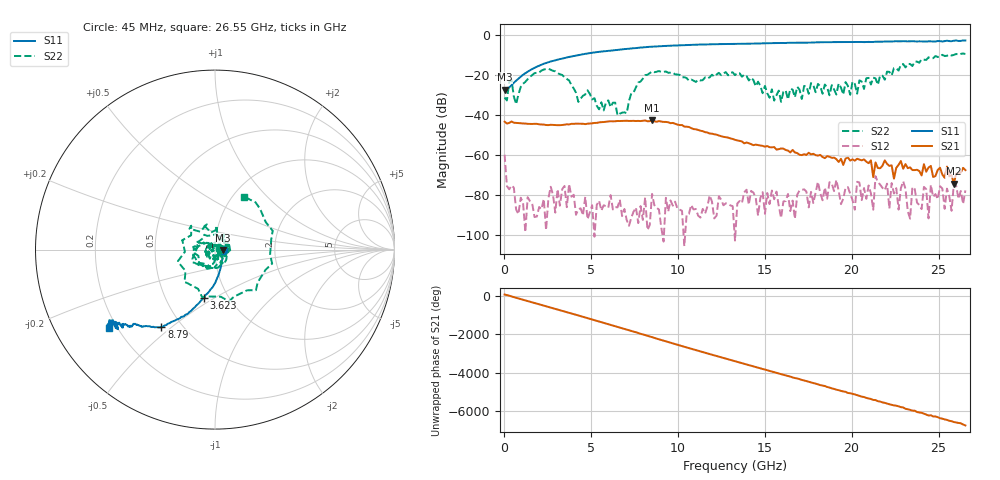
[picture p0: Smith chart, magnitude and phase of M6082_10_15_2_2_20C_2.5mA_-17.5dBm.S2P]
!  2-Port S-parameters saved by WinCal
! VAR MeasName=S-Parameters (CALIBRATED_DATA) read from VNA (C)
! VAR MeasDate=10/16/2015 3:06:08 PM
! VAR NAME=M6082_10_15_2_2_20C_2.5mA_-17.5dBm
! VAR FILENAME=M6082_10_15_2_2_20C_2.5mA_-17.5dBm.S2P
! VAR DATE=10/16/2015 3:06:08 PM
! VAR PHYS_PORTS=2,1
! VAR ObjTypeName=DATASET
! VAR IndexType=Frequency
# Hz S RI R 50
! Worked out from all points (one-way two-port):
!   201 points, 45 MHz to 26.55 GHz, reference 50 ohm
!   highest |S21| = -42.69 dB at 8.525 GHz (marker M1); lowest = -74.4 dB at 25.88 GHz (marker M2)
!   lowest |S11| = -27.2 dB at 45 MHz (marker M3), VSWR 1.09, Z = 54.5 - j0.23 ohm
!   |S11| at or under -10 dB: start of sweep to 4.283 GHz
!   |S22| runs from -40.1 to -9.2 dB; largest |S21 - S12| = 0.0073
!   S11 on the Smith chart (normalised r, x): 45 MHz: 1.09, -0.00; 3.623 GHz: 0.77, -0.45; 8.79 GHz: 0.39, -0.46; 26.55 GHz: 0.17, -0.32
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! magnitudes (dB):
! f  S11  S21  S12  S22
! 45 MHz  -27.2  -43.3  -59.9  -31.3
! 177.5 MHz  -27.1  -44.3  -75.6  -32.7
! 442.5 MHz  -25.1  -43.2  -75.3  -22.4
! 707.5 MHz  -22.8  -44.0  -87.3  -34.6
! 1.768 GHz  -16.4  -44.4  -91.1  -19.0
! 3.623 GHz  -11.2  -44.7  -86.1  -21.9
! 4.55 GHz  -9.6  -44.4  -90.2  -30.4
! 7.067 GHz  -6.9  -42.9  -92.6  -39.1
! 8.525 GHz  -5.8  -42.7  -79.5  -18.2
! 8.79 GHz  -5.6  -43.3  -86.4  -18.3
! 8.922 GHz  -5.6  -43.0  -87.3  -18.0
! 13.29 GHz  -4.4  -52.4  -102.9  -20.0
! 15.95 GHz  -3.9  -56.7  -91.5  -33.4
! 17.8 GHz  -3.7  -59.4  -84.1  -25.0
! 19.12 GHz  -3.5  -62.1  -72.5  -29.7
! 21.11 GHz  -3.5  -62.7  -79.3  -24.7
! 21.25 GHz  -3.4  -71.1  -87.4  -21.3
! 21.38 GHz  -3.3  -63.7  -70.6  -21.6
! 22.17 GHz  -3.2  -65.5  -86.8  -18.4
! 25.48 GHz  -2.8  -65.8  -76.8  -10.3
! 25.88 GHz  -2.8  -74.4  -74.2  -9.9
! 26.55 GHz  -2.7  -67.6  -77.8  -9.5
